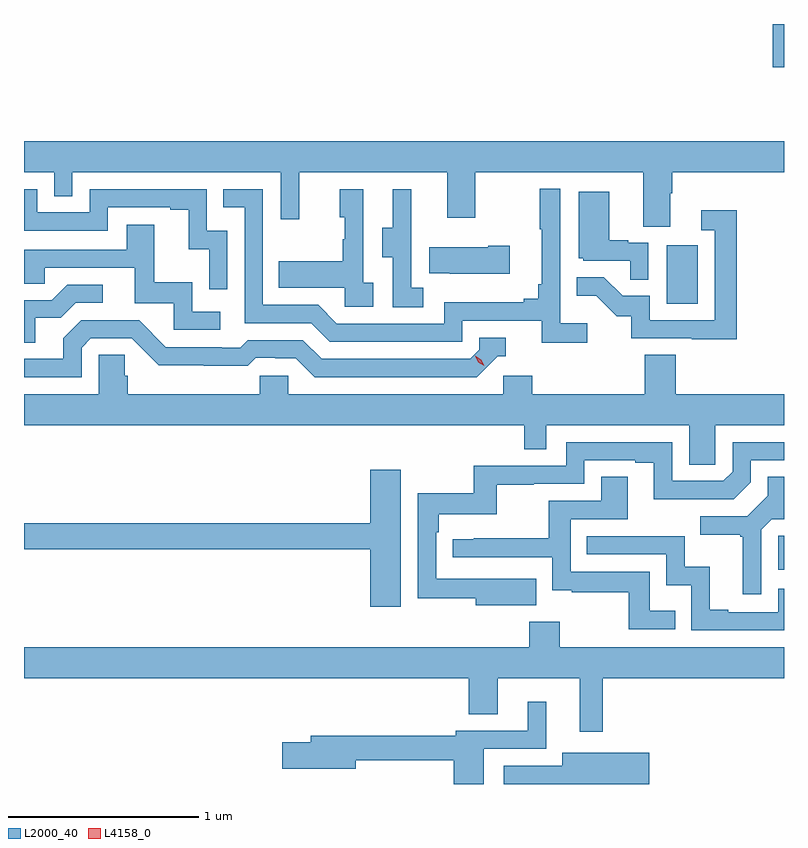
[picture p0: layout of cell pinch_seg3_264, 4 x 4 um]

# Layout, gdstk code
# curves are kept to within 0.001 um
import gdstk
lib = gdstk.Library(unit=1e-6, precision=1e-09)
def R(c, l, rs):  # rectangles x0, y0, x1, y1
    for r in rs: c.add(gdstk.rectangle(r[:2], r[2:], *l))
def P(c, l, *ps):  # polygons
    for p in ps: c.add(gdstk.Polygon(p, *l))
L2000_40 = (2000, 40)
L4158_0 = (4158, 0)

pinch_seg3_264 = lib.new_cell('pinch_seg3_264')
R(pinch_seg3_264, L2000_40, [(953.826,726.795,953.857,726.975), (953.24,728.196,953.404,728.503), (953.798,729.441,953.857,729.668)])
P(pinch_seg3_264, L2000_40, [(953.257,728.776),(953.27,728.776),(953.27,728.888),(953.857,728.888),(953.857,729.052),(949.857,729.052),(949.857,728.888),(950.016,728.888),(950.016,728.761),(950.112,728.761),(950.112,728.888),(951.207,728.888),(951.207,728.64),(951.305,728.64),(951.305,728.888),(952.085,728.888),(952.085,728.649),(952.233,728.649),(952.233,728.888),(953.117,728.888),(953.117,728.602),(953.257,728.602)],
  [(952.822,728.092),(952.68,728.092),(952.68,728.8),(952.572,728.8),(952.572,728.587),(952.583,728.587),(952.583,728.299),(952.564,728.299),(952.564,728.222),(952.487,728.222),(952.487,728.203),(952.068,728.203),(952.068,728.091),(951.504,728.091),(951.405,728.19),(951.114,728.19),(951.114,728.799),(950.905,728.799),(950.905,728.703),(951.018,728.703),(951.018,728.094),(951.368,728.094),(951.467,727.995),(952.164,727.995),(952.164,728.106),(952.583,728.106),(952.583,727.99),(952.822,727.99)],
  [(950.928,728.58),(950.82,728.58),(950.82,728.799),(950.202,728.799),(950.202,728.676),(949.926,728.676),(949.926,728.799),(949.857,728.799),(949.857,728.58),(950.298,728.58),(950.298,728.703),(950.627,728.703),(950.627,728.691),(950.723,728.691),(950.723,728.483),(950.832,728.483),(950.832,728.271),(950.928,728.271)],
  [(951.958,728.279),(951.894,728.279),(951.894,728.583),(951.896,728.583),(951.896,728.797),(951.797,728.797),(951.797,728.595),(951.743,728.595),(951.743,728.44),(951.798,728.44),(951.798,728.176),(951.958,728.176)],
  [(951.694,728.306),(951.642,728.306),(951.642,728.797),(951.518,728.797),(951.518,728.652),(951.544,728.652),(951.544,728.534),(951.534,728.534),(951.534,728.419),(951.199,728.419),(951.199,728.279),(951.546,728.279),(951.546,728.181),(951.694,728.181)],
  [(953.142,728.517),(953.036,728.517),(953.036,728.53),(952.936,728.53),(952.936,728.785),(952.778,728.785),(952.778,728.436),(952.8,728.436),(952.8,728.421),(953.047,728.421),(953.047,728.323),(953.142,728.323)],
  [(953.609,728.689),(953.421,728.689),(953.421,728.583),(953.493,728.583),(953.493,728.109),(953.151,728.109),(953.151,728.238),(953.007,728.238),(952.909,728.336),(952.765,728.336),(952.765,728.237),(952.869,728.237),(952.976,728.13),(953.053,728.13),(953.053,728.013),(953.371,728.013),(953.371,728.008),(953.609,728.008)],
  [(950.89,728.154),(950.742,728.154),(950.742,728.308),(950.543,728.308),(950.543,728.611),(950.399,728.611),(950.399,728.481),(949.857,728.481),(949.857,728.301),(949.967,728.301),(949.967,728.385),(950.441,728.385),(950.441,728.199),(950.646,728.199),(950.646,728.058),(950.89,728.058)],
  [(952.414,728.502),(952.301,728.502),(952.301,728.494),(951.991,728.494),(951.991,728.357),(952.099,728.357),(952.099,728.354),(952.414,728.354)],
  [(949.915,728.122),(950.05,728.122),(950.13,728.202),(950.272,728.202),(950.272,728.295),(950.084,728.295),(950.003,728.214),(949.857,728.214),(949.857,727.99),(949.915,727.99)],
  [(950.16,727.965),(950.208,728.013),(950.424,728.013),(950.566,727.871),(950.802,727.871),(950.802,727.869),(951.035,727.869),(951.077,727.911),(951.18,727.911),(951.18,727.908),(951.287,727.908),(951.386,727.809),(952.239,727.809),(952.35,727.92),(952.393,727.92),(952.393,728.016),(952.254,728.016),(952.254,727.953),(952.206,727.905),(951.423,727.905),(951.324,728.004),(951.035,728.004),(950.996,727.965),(950.897,727.965),(950.897,727.968),(950.604,727.968),(950.463,728.109),(950.157,728.109),(950.063,728.015),(950.063,727.905),(949.857,727.905),(949.857,727.809),(950.16,727.809)],
  [(953.496,727.556),(953.857,727.556),(953.857,727.72),(953.288,727.72),(953.288,727.928),(953.123,727.928),(953.123,727.72),(952.532,727.72),(952.532,727.818),(952.38,727.818),(952.38,727.72),(951.249,727.72),(951.249,727.818),(951.099,727.818),(951.099,727.72),(950.402,727.72),(950.402,727.818),(950.387,727.818),(950.387,727.928),(950.25,727.928),(950.25,727.72),(949.857,727.72),(949.857,727.556),(952.489,727.556),(952.489,727.429),(952.605,727.429),(952.605,727.556),(953.357,727.556),(953.357,727.348),(953.496,727.348)],
  [(952.553,726.748),(952.026,726.747),(952.026,726.992),(952.04,726.992),(952.04,727.088),(952.345,727.088),(952.345,727.243),(952.541,727.243),(952.541,727.248),(952.806,727.248),(952.806,727.371),(953.075,727.371),(953.075,727.359),(953.171,727.359),(953.171,727.166),(953.592,727.167),(953.682,727.257),(953.682,727.371),(953.857,727.371),(953.857,727.467),(953.586,727.467),(953.586,727.311),(953.538,727.263),(953.268,727.263),(953.268,727.467),(952.71,727.467),(952.71,727.344),(952.224,727.344),(952.224,727.198),(951.93,727.198),(951.93,726.646),(952.235,726.646),(952.235,726.608),(952.553,726.608)],
  [(951.841,727.321),(951.68,727.321),(951.68,727.04),(949.857,727.04),(949.857,726.904),(951.68,726.904),(951.68,726.6),(951.841,726.6)],
  [(953.736,727.005),(953.793,727.062),(953.857,727.062),(953.857,727.286),(953.771,727.286),(953.771,727.184),(953.664,727.077),(953.415,727.077),(953.415,726.98),(953.628,726.98),(953.628,726.969),(953.639,726.969),(953.639,726.666),(953.736,726.666)],
  [(953.285,726.58),(953.151,726.58),(953.151,726.786),(952.734,726.786),(952.734,727.062),(953.035,727.062),(953.035,727.286),(952.895,727.286),(952.895,727.158),(952.618,727.158),(952.618,726.962),(952.225,726.962),(952.225,726.957),(952.113,726.957),(952.113,726.861),(952.638,726.861),(952.638,726.689),(952.741,726.689),(952.741,726.678),(953.04,726.678),(953.04,726.483),(953.285,726.483)],
  [(953.857,726.696),(953.826,726.696),(953.826,726.573),(953.563,726.573),(953.563,726.586),(953.467,726.586),(953.467,726.811),(953.334,726.811),(953.334,726.972),(952.819,726.972),(952.819,726.876),(953.238,726.876),(953.238,726.713),(953.37,726.713),(953.37,726.477),(953.857,726.477)],
  [(952.903,726.224),(953.857,726.224),(953.857,726.388),(952.677,726.388),(952.677,726.523),(952.517,726.523),(952.517,726.388),(949.857,726.388),(949.857,726.224),(952.199,726.224),(952.199,726.034),(952.351,726.034),(952.351,726.224),(952.781,726.224),(952.781,725.943),(952.903,725.943)],
  [(952.276,725.853),(952.606,725.853),(952.606,726.1),(952.508,726.1),(952.508,725.949),(952.13,725.949),(952.13,725.923),(951.365,725.923),(951.365,725.889),(951.216,725.889),(951.216,725.747),(951.604,725.747),(951.604,725.794),(952.118,725.794),(952.118,725.668),(952.276,725.668)],
  [(953.149,725.832),(952.691,725.832),(952.691,725.763),(952.383,725.763),(952.383,725.668),(953.149,725.668)])
P(pinch_seg3_264, L4158_0, [(952.279,727.869),(952.248,727.888),(952.232,727.921),(952.232,727.921),(952.232,727.921),(952.263,727.902),(952.28,727.869),(952.28,727.869)])

lib.write_gds('pinch_seg3_264.gds')
